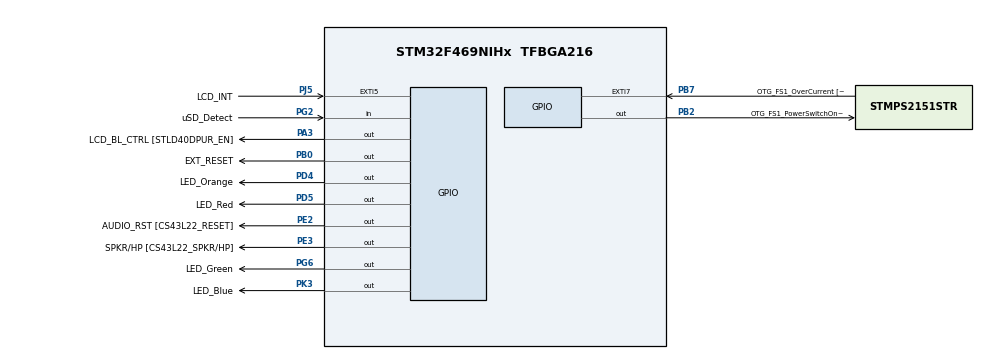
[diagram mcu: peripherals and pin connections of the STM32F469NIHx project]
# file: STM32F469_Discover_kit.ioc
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PC10.GPIO_PuPd=GPIO_NOPULL
SH.FMC_A0.0=FMC_A0
PH15.GPIO_Label=D23
VP_ADC1_TempSens_Input.Mode=IN-TempSens
PA10.GPIO_PuPd=GPIO_NOPULL
PG8.Signal=FMC_SDCLK
PG0.Signal=FMC_A10
SH.FMC_D5_DA5.0=FMC_D5
PI10.GPIO_PuPd=GPIO_NOPULL
PH13.GPIO_Mode=GPIO_MODE_AF_PP
SH.FMC_D9_DA9.0=FMC_D9
PD0.GPIO_Speed_High_Default=GPIO_SPEED_FREQ_VERY_HIGH
DSIHOST_D0P.Signal=DSIHOST_D0P
SH.FMC_D25.0=FMC_D25
PG15.GPIO_Label=SDNCAS [MT48LC4M32B2B5-6A_CAS]
PF7.Signal=QUADSPI_BK1_IO2
SH.FMC_SDNWE.0=FMC_SDNWE
PH9.Signal=FMC_D17
PG7.GPIO_Mode=GPIO_MODE_AF_PP
SH.FMC_D11_DA11.0=FMC_D11
RCC.APB2TimFreq_Value=84000000
PB6.Signal=QUADSPI_BK1_NCS
Dma.ADC1.0.Direction=DMA_PERIPH_TO_MEMORY
PD0.Signal=FMC_D2_DA2
PD8.Signal=FMC_D13_DA13
PE1.Signal=FMC_NBL1
Dma.ADC1.0.MemDataAlignment=DMA_MDATAALIGN_HALFWORD
PI5.GPIO_Mode=GPIO_MODE_AF_PP
PF1.GPIO_Label=A1
PI4.GPIO_Label=FMC_NBL2 [MT48LC4M32B2B5-6A_DQM2]
PD1.GPIO_Label=D3
PF12.GPIO_Label=A6
PE9.Signal=FMC_D6_DA6
DSIHOST_D1N.Signal=DSIHOST_D1N
SH.FMC_A2.0=FMC_A2
PE4.GPIO_Label=SAI1_FSA [CS43L22_LRCK]
SH.FMC_D1_DA1.0=FMC_D1
PK3.GPIO_ModeDefaultOutputPP=GPIO_MODE_OUTPUT_OD
PH14.GPIO_PuPd=GPIO_NOPULL
PF1.GPIO_Mode=GPIO_MODE_AF_PP
PH3.GPIO_PuPd=GPIO_NOPULL
PI2.GPIO_PuPd=GPIO_NOPULL
Mcu.Package=TFBGA216
PB9.Signal=I2C1_SDA
PI9.GPIO_Mode=GPIO_MODE_AF_PP
PI2.GPIO_Speed_High_Default=GPIO_SPEED_FREQ_VERY_HIGH
PA10.Signal=USB_OTG_FS_ID
SH.FMC_D27.0=FMC_D27
PE12.GPIO_Label=D9
RCC.APB2CLKDivider=RCC_HCLK_DIV4
PH3.GPIO_Speed_High_Default=GPIO_SPEED_FREQ_VERY_HIGH
RCC.APB1TimFreq_Value=84000000
PD5.GPIO_Speed=GPIO_SPEED_FREQ_LOW
PH5.GPIO_Speed=GPIO_SPEED_FREQ_VERY_HIGH
DSIHOST_D1P.GPIO_Label=DSI_D1_P
PD15.Signal=FMC_D1_DA1
PC8.GPIO_Mode=GPIO_MODE_AF_PP
PI5.GPIO_PuPd=GPIO_NOPULL
RCC.VDD_VALUE=3.3
SH.FMC_A4.0=FMC_A4
PH13.Signal=FMC_D21
PI3.GPIO_Speed_High_Default=GPIO_SPEED_FREQ_VERY_HIGH
PD1.GPIO_Speed_High_Default=GPIO_SPEED_FREQ_VERY_HIGH
PF4.GPIO_Mode=GPIO_MODE_AF_PP
PG5.Signal=FMC_A15_BA1
SH.FMC_D10_DA10.0=FMC_D10
PB6.GPIO_PuPd=GPIO_NOPULL
PI6.GPIO_PuPd=GPIO_NOPULL
SH.FMC_D16.0=FMC_D16
PG8.GPIO_PuPd=GPIO_NOPULL
PF8.GPIO_Label=QSPI_BK1_IO0 [N25Q128A13EF840F_DQ0]
PD10.Signal=FMC_D15_DA15
PB8.GPIO_Label=I2C1_SCL
PC10.GPIO_Mode=GPIO_MODE_AF_PP
SH.FMC_D29.0=FMC_D29
PE8.GPIO_Label=D5
Dma.ADC1.0.Priority=DMA_PRIORITY_LOW
PH11.GPIO_Label=D19
PE2.GPIO_PuPd=GPIO_NOPULL
PI0.GPIO_Speed_High_Default=GPIO_SPEED_FREQ_VERY_HIGH
PE1.GPIO_Label=FMC_NBL1 [ MT48LC4M32B2B5-6A_DQM1]
PI7.Signal=FMC_D29
SH.FMC_A6.0=FMC_A6
PE14.Signal=FMC_D11_DA11
PD4.GPIO_Speed=GPIO_SPEED_FREQ_LOW
PH4.GPIO_Speed=GPIO_SPEED_FREQ_VERY_HIGH
PG7.GPIO_Label=SAI1_MCLKA [CS43L22_MCLK]
PI2.Signal=FMC_D26
PF4.GPIO_Label=A4
PC9.GPIO_PuPd=GPIO_NOPULL
PE3.GPIO_PuPd=GPIO_NOPULL
PF13.Signal=FMC_A7
PG14.GPIO_PuPd=GPIO_NOPULL
SH.FMC_NBL2.0=FMC_NBL2
SH.FMC_D18.0=FMC_D18
PC8.GPIO_PuPd=GPIO_NOPULL
ADC1.master=1
PC12.GPIO_Label=uSD_CLK
PE5.GPIO_Label=SAI1_SCKA [CS43L22_CLK]
ProjectManager.HeapSize=0x200
DSIHOST_CKP.GPIO_Label=DSI_CK_P
PD0.GPIO_PuPd=GPIO_NOPULL
NVIC.PriorityGroup=NVIC_PRIORITYGROUP_4
PF0.GPIO_Label=A0
PI1.GPIO_Mode=GPIO_MODE_AF_PP
PH14.GPIO_Mode=GPIO_MODE_AF_PP
PE3.Signal=GPIO_Output
PC15/OSC32_OUT.Signal=RCC_OSC32_OUT
PF4.Signal=FMC_A4
DSIHOST_D0P.GPIO_Label=DSI_D0_P
PD2.Signal=SDIO_CMD
PI1.GPIO_Label=D25
Mcu.Family=STM32F4
PK3.Signal=GPIO_Output
SH.FMC_A8.0=FMC_A8
PI4.GPIO_Mode=GPIO_MODE_AF_PP
PH14.Signal=FMC_D22
PH10.Signal=FMC_D18
ADC1.ContinuousConvMode=ENABLE
SH.FMC_D14_DA14.0=FMC_D14
PG2.Signal=GPIO_Input
PE11.GPIO_Label=D8
PE2.GPIO_Speed=GPIO_SPEED_FREQ_LOW
PD0.GPIO_Label=D2
PD2.GPIO_Mode=GPIO_MODE_AF_PP
SH.FMC_A14_BA0.0=FMC_BA0
SH.FMC_A11.0=FMC_A11
PG9.GPIO_Speed=GPIO_SPEED_FREQ_VERY_HIGH
PB7.GPIO_ModeDefaultEXTI=GPIO_MODE_IT_RISING
PI9.GPIO_Speed_High_Default=GPIO_SPEED_FREQ_VERY_HIGH
PG15.Signal=FMC_SDNCAS
PJ5.GPIO_Label=LCD_INT
PD13.Signal=S_TIM4_CH2
PC11.GPIO_PuPd=GPIO_NOPULL
PJ2.Signal=DSIHOST_TE
PG15.GPIO_Speed_High_Default=GPIO_SPEED_FREQ_VERY_HIGH
SH.FMC_NBL1.0=FMC_NBL1
PA9.GPIO_Mode=GPIO_MODE_AF_PP
ADC1.Channel-0\#ChannelRegularConversion=ADC_CHANNEL_TEMPSENSOR
PI2.GPIO_Mode=GPIO_MODE_AF_PP
PE2.GPIO_ModeDefaultOutputPP=GPIO_MODE_OUTPUT_PP
PB3.GPIO_PuPd=GPIO_NOPULL
DSIHOST_D1P.Signal=DSIHOST_D1P
PF11.Signal=FMC_SDNRAS
PC11.GPIO_Label=uSD_D3
PB7.Signal=GPXTI7
PG7.GPIO_PuPd=GPIO_NOPULL
PG6.GPIO_ModeDefaultOutputPP=GPIO_MODE_OUTPUT_OD
PB7.GPIO_Label=OTG_FS1_OverCurrent [STMPS2151STR_FAULT]
PD6.GPIO_Mode=GPIO_MODE_AF_PP
PD13.GPIO_Label=MIC_CK [MP34DT01TR_CLK]
PD5.GPIO_Label=LED_Red
PF8.Signal=QUADSPI_BK1_IO0
PG0.GPIO_Label=A10
PI0.GPIO_Label=D24
PA10.GPIO_Speed=GPIO_SPEED_FREQ_VERY_HIGH
PD0.GPIO_Mode=GPIO_MODE_AF_PP
DSIHOST_CKN.Signal=DSIHOST_CKN
PG14.GPIO_Mode=GPIO_MODE_AF_PP
PE7.Signal=FMC_D4_DA4
PD6.Signal=SAI1_SD_A
Dma.Request0=ADC1
PF3.GPIO_Label=A3
PE2.GPIO_Label=AUDIO_RST [CS43L22_RESET]
PH15.GPIO_PuPd=GPIO_NOPULL
PA12.GPIO_Speed=GPIO_SPEED_FREQ_VERY_HIGH
PG2.GPIO_Label=uSD_Detect
PA3.Signal=GPIO_Output
PE0.GPIO_PuPd=GPIO_NOPULL
SH.FMC_D20.0=FMC_D20
PD15.GPIO_Label=D1
PG7.Signal=SAI1_MCLK_A
PH12.GPIO_Label=D20
PC9.GPIO_Label=uSD_D1
PC11.Signal=SDIO_D3
PC8.Signal=SDIO_D0
SH.FMC_D31.0=FMC_D31
PH4.GPIO_PuPdOD=GPIO_PULLUP
PE14.GPIO_Label=D11
PD9.Signal=FMC_D14_DA14
PA9.GPIO_PuPd=GPIO_NOPULL
PA12.GPIO_Label=USB_FS1_P
PD8.GPIO_Label=D13
PG8.GPIO_Label=SDCLK [MT48LC4M32B2B5-6A_CLK]
PA13.Signal=SYS_JTMS-SWDIO
PD4.GPIO_PuPd=GPIO_NOPULL
Dma.ADC1.0.PeriphDataAlignment=DMA_PDATAALIGN_HALFWORD
PB2/BOOT1.Signal=GPIO_Output
PF6.Signal=QUADSPI_BK1_IO3
PC9.GPIO_Mode=GPIO_MODE_AF_PP
PB10.GPIO_Label=STLK_RX [STLINK V2-1_U2_RX]
SH.FMC_D13_DA13.0=FMC_D13
PF0.GPIO_Speed_High_Default=GPIO_SPEED_FREQ_VERY_HIGH
PH8.Signal=FMC_D16
RCC.USBFreq_Value=84000000
PF9.GPIO_Label=QSPI_BK1_IO1 [N25Q128A13EF840F_DQ1]
PD10.GPIO_Label=D15
DSIHOST_CKP.Signal=DSIHOST_CKP
board=STM32F469I-DISCO
RCC.VCOOutputFreq_Value=336000000
PI9.Signal=FMC_D30
PH4.GPIO_Label=I2C2_SCL [CS43L22_SCL]
SH.FMC_D22.0=FMC_D22
PH13.GPIO_PuPd=GPIO_NOPULL
PI4.Signal=FMC_NBL2
SH.FMC_D12_DA12.0=FMC_D12
PF15.GPIO_Label=A9
PD5.GPIO_PuPd=GPIO_NOPULL
PF1.Signal=FMC_A1
PE0.Signal=FMC_NBL0
PE7.GPIO_Label=D4
PE12.Signal=FMC_D9_DA9
PI1.GPIO_Speed_High_Default=GPIO_SPEED_FREQ_VERY_HIGH
DSIHOST_CKN.GPIO_Label=DSI_CK_N
RCC.SYSCLKFreq_VALUE=168000000
PI9.GPIO_PuPd=GPIO_NOPULL
PI10.GPIO_Speed_High_Default=GPIO_SPEED_FREQ_VERY_HIGH
PI7.GPIO_Mode=GPIO_MODE_AF_PP
PJ5.Signal=GPXTI5
Dma.ADC1.0.MemInc=DMA_MINC_ENABLE
PI6.GPIO_Mode=GPIO_MODE_AF_PP
PI3.GPIO_Label=D27
PH3.Signal=FMC_SDNE0
RCC.PLLM=8
RCC.PLLN=168
PE5.GPIO_Speed=GPIO_SPEED_FREQ_LOW
PA9.GPIO_Speed=GPIO_SPEED_FREQ_VERY_HIGH
PD2.GPIO_Speed_High_Default=GPIO_SPEED_FREQ_VERY_HIGH
PB8.GPIO_Speed=GPIO_SPEED_FREQ_VERY_HIGH
PJ2.GPIO_Label=DSI_TE
PG14.GPIO_Speed=GPIO_SPEED_FREQ_VERY_HIGH
PD6.GPIO_Speed=GPIO_SPEED_FREQ_LOW
PA3.GPIO_Label=LCD_BL_CTRL [STLD40DPUR_EN]
PD6.GPIO_PuPd=GPIO_NOPULL
PA11.GPIO_Speed=GPIO_SPEED_FREQ_VERY_HIGH
PH15.GPIO_Mode=GPIO_MODE_AF_PP
SH.FMC_D7_DA7.0=FMC_D7
PD1.GPIO_Mode=GPIO_MODE_AF_PP
SH.FMC_D24.0=FMC_D24
PH12.Signal=FMC_D20
PI3.GPIO_Mode=GPIO_MODE_AF_PP
PG4.Signal=FMC_A14_BA0
PC12.Signal=SDIO_CK
PA14.GPIO_Label=SWCLK
PG6.GPIO_Label=LED_Green
PB6.GPIO_Label=QSPI_BK1_NCS [N25Q128A13EF840F_S]
PI6.GPIO_Label=D28
PD6.GPIO_Label=MIC_DATA [MP34DT01TR_DOUT]
PB3.GPIO_Speed=GPIO_SPEED_FREQ_LOW
PF6.GPIO_Label=QSPI_BK1_IO3 [N25Q128A13EF840F_DQ3]
RCC.SYSCLKSource=RCC_SYSCLKSOURCE_PLLCLK
PG15.GPIO_Mode=GPIO_MODE_AF_PP
PH14.GPIO_Speed_High_Default=GPIO_SPEED_FREQ_VERY_HIGH
SH.FMC_A15_BA1.0=FMC_BA1
PI0.GPIO_PuPd=GPIO_NOPULL
PH5.Signal=I2C2_SDA
PC10.GPIO_Speed_High_Default=GPIO_SPEED_FREQ_VERY_HIGH
PD4.Signal=GPIO_Output
PB2/BOOT1.GPIO_Label=OTG_FS1_PowerSwitchOn [STMPS2151STR_En]
PH1/OSC_OUT.Signal=RCC_OSC_OUT
PE5.Signal=SAI1_SCK_A
PF10.GPIO_Label=QSPI_CLK [N25Q128A13EF840F_C]
PH10.GPIO_Label=D18
PG6.GPIO_PuPd=GPIO_NOPULL
SH.FMC_D26.0=FMC_D26
PI6.Signal=FMC_D28
PI3.Signal=FMC_D27
Dma.ADC1.0.PeriphInc=DMA_PINC_DISABLE
SH.S_TIM4_CH2.0=TIM4_CH2
PD4.GPIO_ModeDefaultOutputPP=GPIO_MODE_OUTPUT_OD
PE2.Signal=GPIO_Output
PF3.Signal=FMC_A3
PE10.Signal=FMC_D7_DA7
PF1.GPIO_Speed_High_Default=GPIO_SPEED_FREQ_VERY_HIGH
ADC1.SamplingTime-0\#ChannelRegularConversion=ADC_SAMPLETIME_84CYCLES
PH13.GPIO_Speed_High_Default=GPIO_SPEED_FREQ_VERY_HIGH
PI7.GPIO_PuPd=GPIO_NOPULL
DSIHOST_D1N.GPIO_Label=DSI_D1_N
PF3.GPIO_PuPd=GPIO_NOPULL
PB8.GPIO_PuPdOD=GPIO_PULLUP
SH.FMC_A1.0=FMC_A1
PH2.Signal=FMC_SDCKE0
PI7.GPIO_Speed_High_Default=GPIO_SPEED_FREQ_VERY_HIGH
SH.FMC_SDCLK.0=FMC_SDCLK
PF14.Signal=FMC_A8
Dma.ADC1.0.FIFOMode=DMA_FIFOMODE_DISABLE
PG9.GPIO_Mode=GPIO_MODE_AF_PP
PC12.GPIO_PuPd=GPIO_NOPULL
PA12.GPIO_PuPd=GPIO_NOPULL
PE10.GPIO_Label=D7
SH.FMC_D3_DA3.0=FMC_D3
PG6.GPIO_Speed=GPIO_SPEED_FREQ_LOW
PI10.GPIO_Label=D31
PB7.GPIO_PuPd=GPIO_NOPULL
PH15.Signal=FMC_D23
Dma.ADC1.0.Instance=DMA2_Stream0
ADC1.Rank-0\#ChannelRegularConversion=1
SH.FMC_D28.0=FMC_D28
PD9.GPIO_Label=D14
PD2.GPIO_PuPd=GPIO_NOPULL
PG9.GPIO_PuPd=GPIO_NOPULL
PG9.Signal=USART6_RX
PA9.GPIO_Label=VBUS_FS1
PB11.GPIO_Label=STLK_TX [STLINK V2-1_U2_TX]
PD1.Signal=FMC_D3_DA3
PA11.GPIO_Label=USB_FS1_N
PE1.GPIO_PuPd=GPIO_NOPULL
PF14.GPIO_Label=A8
PD1.GPIO_PuPd=GPIO_NOPULL
PC0.Signal=FMC_SDNWE
RCC.APB1CLKDivider=RCC_HCLK_DIV4
PF13.GPIO_Label=A7
SH.FMC_A3.0=FMC_A3
PF2.GPIO_Mode=GPIO_MODE_AF_PP
SH.FMC_D15_DA15.0=FMC_D15
PI3.GPIO_PuPd=GPIO_NOPULL
PA9.Signal=USB_OTG_FS_VBUS
PE9.GPIO_Label=D6
SH.FMC_D17.0=FMC_D17
PB10.Signal=USART3_TX
PH9.GPIO_Label=D17
PI9.GPIO_Label=D30
PI0.GPIO_Mode=GPIO_MODE_AF_PP
PI6.GPIO_Speed_High_Default=GPIO_SPEED_FREQ_VERY_HIGH
PE15.Signal=FMC_D12_DA12
PE8.Signal=FMC_D5_DA5
PI1.Signal=FMC_D25
PC11.GPIO_Mode=GPIO_MODE_AF_PP
PA0/WKUP.GPIO_Label=WAKEUP [B2]
ADC1.DMAContinuousRequests=ENABLE
PB3.GPIO_Mode=GPIO_MODE_AF_PP
SH.FMC_SDNCAS.0=FMC_SDNCAS
PG14.GPIO_Label=ARDUINO USART6_TX
PE4.GPIO_PuPd=GPIO_NOPULL
PC12.GPIO_Speed_High_Default=GPIO_SPEED_FREQ_VERY_HIGH
PH14.GPIO_Label=D22
PC8.GPIO_Speed_High_Default=GPIO_SPEED_FREQ_VERY_HIGH
PC12.GPIO_Mode=GPIO_MODE_AF_PP
PE13.GPIO_Label=D10
PE3.GPIO_Speed=GPIO_SPEED_FREQ_LOW
PE3.GPIO_ModeDefaultOutputPP=GPIO_MODE_OUTPUT_PP
SH.FMC_A5.0=FMC_A5
PA11.Signal=USB_OTG_FS_DM
PK3.GPIO_Label=LED_Blue
PF9.Signal=QUADSPI_BK1_IO1
PG8.GPIO_Speed_High_Default=GPIO_SPEED_FREQ_VERY_HIGH
PI4.GPIO_PuPd=GPIO_NOPULL
PD5.GPIO_ModeDefaultOutputPP=GPIO_MODE_OUTPUT_OD
SH.FMC_NBL3.0=FMC_NBL3
PB6.GPIO_Speed=GPIO_SPEED_FREQ_VERY_HIGH
PB0.Signal=GPIO_Output
SH.FMC_D19.0=FMC_D19
PE0.GPIO_Mode=GPIO_MODE_AF_PP
PG15.GPIO_PuPd=GPIO_NOPULL
PD2.GPIO_Label=uSD_CMD
PF3.GPIO_Mode=GPIO_MODE_AF_PP
PH2.GPIO_Label=SDCKE0 [MT48LC4M32B2B5-6A_CKE]
PF2.GPIO_Speed_High_Default=GPIO_SPEED_FREQ_VERY_HIGH
RCC.CortexFreq_Value=168000000
PG6.Signal=GPIO_Output
PB6.GPIO_Mode=GPIO_MODE_AF_PP
PF4.GPIO_Speed_High_Default=GPIO_SPEED_FREQ_VERY_HIGH
PC10.Signal=SDIO_D2
PF4.GPIO_PuPd=GPIO_NOPULL
SH.FMC_NBL0.0=FMC_NBL0
PI4.GPIO_Speed_High_Default=GPIO_SPEED_FREQ_VERY_HIGH
PC0.GPIO_Label=SDNWE [MT48LC4M32B2B5-6A_WE]
SH.FMC_D6_DA6.0=FMC_D6
PA0/WKUP.Signal=SYS_WKUP
PB0.GPIO_Label=EXT_RESET
PA11.GPIO_PuPd=GPIO_NOPULL
PH5.GPIO_Label=I2C2_SDA [CS43L22_SDA]
PI5.GPIO_Label=FMC_NBL3 [MT48LC4M32B2B5-6A_DQM3]
PB11.Signal=USART3_RX
PG8.GPIO_Mode=GPIO_MODE_AF_PP
ProjectManager.StackSize=0x400
SH.FMC_A7.0=FMC_A7
PA12.Signal=USB_OTG_FS_DP
PE5.GPIO_PuPd=GPIO_NOPULL
PE1.GPIO_Mode=GPIO_MODE_AF_PP
PH0/OSC_IN.Mode=HSE-External-Oscillator
RCC.HCLKFreq_Value=168000000
PH5.GPIO_Mode=GPIO_MODE_AF_OD
PF11.GPIO_Label=SDNMT48LC4M32B2B5-6A_RAS]RAS [
PF2.GPIO_PuPd=GPIO_NOPULL
PF12.Signal=FMC_A6
NVIC.DMA2_Stream0_IRQn=true\:0\:0\:false\:false\:true\:false\:true
PC9.GPIO_Speed_High_Default=GPIO_SPEED_FREQ_VERY_HIGH
SH.FMC_A10.0=FMC_A10
RCC.AHBFreq_Value=168000000
SH.FMC_D8_DA8.0=FMC_D8
SH.FMC_D2_DA2.0=FMC_D2
PE13.Signal=FMC_D10_DA10
PF7.GPIO_Label=QSPI_BK1_IO2 [N25Q128A13EF840F_DQ2]
PI1.GPIO_PuPd=GPIO_NOPULL
PE0.GPIO_Speed_High_Default=GPIO_SPEED_FREQ_VERY_HIGH
PI5.Signal=FMC_NBL3
PE4.GPIO_Speed=GPIO_SPEED_FREQ_LOW
PI0.Signal=FMC_D24
PA10.GPIO_Label=USB_FS1_ID
SH.FMC_SDNRAS.0=FMC_SDNRAS
PE4.Signal=SAI1_FS_A
PH1/OSC_OUT.Mode=HSE-External-Oscillator
SH.FMC_D0_DA0.0=FMC_D0
PC14/OSC32_IN.Signal=RCC_OSC32_IN
PF5.GPIO_Label=A5
PF3.GPIO_Speed_High_Default=GPIO_SPEED_FREQ_VERY_HIGH
SH.FMC_A9.0=FMC_A9
SH.FMC_D4_DA4.0=FMC_D4
PE0.GPIO_Label=FMC_NBL0 [ MT48LC4M32B2B5-6A_DQM0]
PH3.GPIO_Label=SDNE0 [MT48LC4M32B2B5-6A_CS]
PF5.Signal=FMC_A5
PB9.GPIO_Speed=GPIO_SPEED_FREQ_VERY_HIGH
SH.FMC_D30.0=FMC_D30
PF0.Signal=FMC_A0
PI2.GPIO_Label=D26
PF0.GPIO_Mode=GPIO_MODE_AF_PP
PB3.GPIO_Label=I2S3_CK
PH15.GPIO_Speed_High_Default=GPIO_SPEED_FREQ_VERY_HIGH
PB9.GPIO_Label=I2C1_SDA
PC10.GPIO_Label=uSD_D2
PH11.Signal=FMC_D19
PG1.Signal=FMC_A11
PH5.GPIO_PuPdOD=GPIO_PULLUP
PE5.GPIO_Mode=GPIO_MODE_AF_PP
PI10.Signal=FMC_D31
PD5.Signal=GPIO_Output
PA10.GPIO_Mode=GPIO_MODE_AF_PP
PH13.GPIO_Label=D21
PC8.GPIO_Label=uSD_D0
SH.FMC_D21.0=FMC_D21
PH8.GPIO_Label=D16
PE4.GPIO_Mode=GPIO_MODE_AF_PP
PE15.GPIO_Label=D12
PH4.Signal=I2C2_SCL
ProjectManager.TargetToolchain=STM32CubeIDE
Dma.ADC1.0.Mode=DMA_CIRCULAR
PC11.GPIO_Speed_High_Default=GPIO_SPEED_FREQ_VERY_HIGH
PF2.Signal=FMC_A2
PE11.Signal=FMC_D8_DA8
PI10.GPIO_Mode=GPIO_MODE_AF_PP
PG9.GPIO_Label=USART6_RX
PG14.Signal=USART6_TX
PI5.GPIO_Speed_High_Default=GPIO_SPEED_FREQ_VERY_HIGH
PK3.GPIO_PuPd=GPIO_NOPULL
PG1.GPIO_Label=A11
PB9.GPIO_Mode=GPIO_MODE_AF_OD
PA12.GPIO_Mode=GPIO_MODE_AF_PP
PH0/OSC_IN.Signal=RCC_OSC_IN
PG7.GPIO_Speed=GPIO_SPEED_FREQ_LOW
RCC.APB2Freq_Value=42000000
PD4.GPIO_Label=LED_Orange
PF10.Signal=QUADSPI_CLK
PH3.GPIO_Mode=GPIO_MODE_AF_PP
PF1.GPIO_PuPd=GPIO_NOPULL
PI7.GPIO_Label=D29
PE1.GPIO_Speed_High_Default=GPIO_SPEED_FREQ_VERY_HIGH
PF15.Signal=FMC_A9
PD14.GPIO_Label=D0
Mcu.Name=STM32F469NIHx
PA13.GPIO_Label=SWDIO
DSIHOST_D0N.GPIO_Label=DSI_D0_N
PD14.Signal=FMC_D0_DA0
PB3.Signal=I2S3_CK
PH4.GPIO_Mode=GPIO_MODE_AF_OD
PF0.GPIO_PuPd=GPIO_NOPULL
SH.FMC_D23.0=FMC_D23
PA14.Signal=SYS_JTCK-SWCLK
DSIHOST_D0N.Signal=DSIHOST_D0N
PB9.GPIO_PuPdOD=GPIO_PULLUP
ADC1.NbrOfConversionFlag=1
PK3.GPIO_Speed=GPIO_SPEED_FREQ_LOW
PB8.Signal=I2C1_SCL
PE3.GPIO_Label=SPKR/HP [CS43L22_SPKR/HP]
PC9.Signal=SDIO_D1
PA11.GPIO_Mode=GPIO_MODE_AF_PP
PB8.GPIO_Mode=GPIO_MODE_AF_OD
RCC.APB1Freq_Value=42000000
PF2.GPIO_Label=A2

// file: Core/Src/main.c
/* USER CODE BEGIN Header */
/**
  ******************************************************************************
  * @file           : main.c
  * @brief          : Main program body
  ******************************************************************************
  * @attention
  *
  * <h2><center>&copy; Copyright (c) 2021 STMicroelectronics.
  * All rights reserved.</center></h2>
  *
  * This software component is licensed by ST under BSD 3-Clause license,
  * the "License"; You may not use this file except in compliance with the
  * License. You may obtain a copy of the License at:
  *                        opensource.org/licenses/BSD-3-Clause
  *
  ******************************************************************************
  */
/* USER CODE END Header */
#include "main.h"
#include "adc.h"
#include "dma.h"
#include "gpio.h"

/* USER CODE BEGIN PD */
#define TEMP_SENSOR_AVG_SLOPE_PER_CELSIUS 2.5f
#define TEMP_SENSOR_VOLTAGE_AT_25 760.0f
#define ADC_REFERENCE_VOLTAGE 3200.0f
#define ADC_MAX_OUTPUT_VALUE 4095.0f
#define BUFF_TX_SIZE 30
/* USER CODE END PD */

/* USER CODE BEGIN PV */
uint8_t adc_dma_flag;
uint16_t adc_value;
int cont = 0;
float temp;
/* USER CODE END PV */

void SystemClock_Config(void);
/* USER CODE BEGIN PFP */
void Sensor_Temp_Start(void);
float calc_Temperature_Sensor(uint32_t value);
/* USER CODE END PFP */

int main(void)
{

  /* MCU Configuration--------------------------------------------------------*/

  /* Reset of all peripherals, Initializes the Flash interface and the Systick. */

  LL_APB2_GRP1_EnableClock(LL_APB2_GRP1_PERIPH_SYSCFG);
  LL_APB1_GRP1_EnableClock(LL_APB1_GRP1_PERIPH_PWR);

  NVIC_SetPriorityGrouping(NVIC_PRIORITYGROUP_4);

  /* System interrupt init*/

  /* Configure the system clock */
  SystemClock_Config();

  /* Initialize all configured peripherals */
  MX_GPIO_Init();
  MX_DMA_Init();
  MX_ADC1_Init();
  /* USER CODE BEGIN 2 */
  Sensor_Temp_Start();
  /* USER CODE END 2 */

  /* Infinite loop */
  /* USER CODE BEGIN WHILE */
  while (1)
  {
	  if(adc_dma_flag == 1)
	  {
		  temp = calc_Temperature_Sensor(adc_value);
		  adc_dma_flag = 0;
		  LL_mDelay(500);
	  }

    /* USER CODE END WHILE */

    /* USER CODE BEGIN 3 */
	/* Blink all the LEDs, waiting for a while between them */
	LL_GPIO_TogglePin(LED_Blue_GPIO_Port, LED_Blue_Pin);
	LL_mDelay(500);

	LL_GPIO_TogglePin(LED_Red_GPIO_Port, LED_Red_Pin);
	LL_mDelay(500);

	LL_GPIO_TogglePin(LED_Orange_GPIO_Port, LED_Orange_Pin);
	LL_mDelay(500);

	LL_GPIO_TogglePin(LED_Green_GPIO_Port, LED_Green_Pin);
	LL_mDelay(500);
  }
  /* USER CODE END 3 */
}

void SystemClock_Config(void)
{
  LL_FLASH_SetLatency(LL_FLASH_LATENCY_5);
  while(LL_FLASH_GetLatency()!= LL_FLASH_LATENCY_5)
  {
  }
  LL_PWR_SetRegulVoltageScaling(LL_PWR_REGU_VOLTAGE_SCALE1);
  LL_PWR_DisableOverDriveMode();
  LL_RCC_HSI_SetCalibTrimming(16);
  LL_RCC_HSI_Enable();

   /* Wait till HSI is ready */
  while(LL_RCC_HSI_IsReady() != 1)
  {

  }
  LL_RCC_PLL_ConfigDomain_SYS(LL_RCC_PLLSOURCE_HSI, LL_RCC_PLLM_DIV_8, 168, LL_RCC_PLLP_DIV_2);
  LL_RCC_PLL_Enable();

   /* Wait till PLL is ready */
  while(LL_RCC_PLL_IsReady() != 1)
  {

  }
  LL_RCC_SetAHBPrescaler(LL_RCC_SYSCLK_DIV_1);
  LL_RCC_SetAPB1Prescaler(LL_RCC_APB1_DIV_4);
  LL_RCC_SetAPB2Prescaler(LL_RCC_APB2_DIV_4);
  LL_RCC_SetSysClkSource(LL_RCC_SYS_CLKSOURCE_PLL);

   /* Wait till System clock is ready */
  while(LL_RCC_GetSysClkSource() != LL_RCC_SYS_CLKSOURCE_STATUS_PLL)
  {

  }
  LL_Init1msTick(168000000);
  LL_SetSystemCoreClock(168000000);
  LL_RCC_SetTIMPrescaler(LL_RCC_TIM_PRESCALER_TWICE);
}

/* USER CODE BEGIN 4 */
/**
  * @brief  Function to process the sensor temperature.
  * @param  value of the ADC's read
  * @retval temp_in_c (Sensor temperature)
  */
float calc_Temperature_Sensor(uint32_t value)
{
    float temp_aux, temp_in_c;
    temp_aux = ((float)value) / ADC_MAX_OUTPUT_VALUE * ADC_REFERENCE_VOLTAGE;
    temp_in_c = (temp_aux - TEMP_SENSOR_VOLTAGE_AT_25) / TEMP_SENSOR_AVG_SLOPE_PER_CELSIUS + 25;
    return temp_in_c;
}
/* USER CODE END 4 */

void Error_Handler(void)
{
  __disable_irq();
  while (1)
  {
  }
}

/************************ (C) COPYRIGHT STMicroelectronics *****END OF FILE****/
